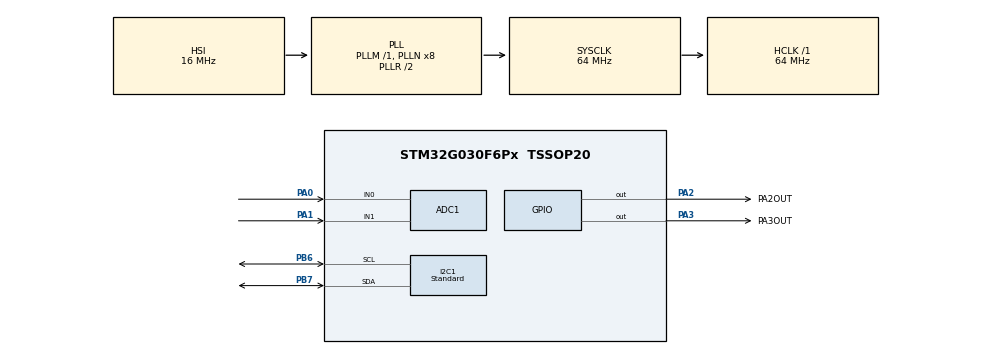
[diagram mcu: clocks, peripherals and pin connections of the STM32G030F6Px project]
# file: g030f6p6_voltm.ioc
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ADC1.Channel-2\#ChannelRegularConversion=ADC_CHANNEL_0
ADC1.Channel-3\#ChannelRegularConversion=ADC_CHANNEL_1
ADC1.ContinuousConvMode=ENABLE
ADC1.DMAContinuousRequests=ENABLE
ADC1.EOCSelection=ADC_EOC_SEQ_CONV
ADC1.NbrOfConversion=2
ADC1.NbrOfConversionFlag=1
ADC1.OversamplingMode=ENABLE
ADC1.Rank-2\#ChannelRegularConversion=1
ADC1.Rank-3\#ChannelRegularConversion=2
ADC1.Ratio=ADC_OVERSAMPLING_RATIO_16
ADC1.SamplingTime-2\#ChannelRegularConversion=ADC_SAMPLINGTIME_COMMON_1
ADC1.SamplingTime-3\#ChannelRegularConversion=ADC_SAMPLINGTIME_COMMON_2
ADC1.SamplingTimeCommon1=ADC_SAMPLETIME_39CYCLES_5
ADC1.SamplingTimeCommon2=ADC_SAMPLETIME_39CYCLES_5
ADC1.SelectedChannel=ADC_CHANNEL_0|ADC_CHANNEL_1
ADC1.TriggerFrequencyMode=ADC_TRIGGER_FREQ_HIGH
ADC1.master=1
Dma.ADC1.0.Direction=DMA_PERIPH_TO_MEMORY
Dma.ADC1.0.EventEnable=DISABLE
Dma.ADC1.0.Instance=DMA1_Channel1
Dma.ADC1.0.MemDataAlignment=DMA_MDATAALIGN_HALFWORD
Dma.ADC1.0.MemInc=DMA_MINC_ENABLE
Dma.ADC1.0.Mode=DMA_CIRCULAR
Dma.ADC1.0.PeriphDataAlignment=DMA_PDATAALIGN_HALFWORD
Dma.ADC1.0.PeriphInc=DMA_PINC_DISABLE
Dma.ADC1.0.Polarity=HAL_DMAMUX_REQ_GEN_RISING
Dma.ADC1.0.Priority=DMA_PRIORITY_LOW
Dma.ADC1.0.RequestNumber=1
Dma.ADC1.0.SignalID=NONE
Dma.ADC1.0.SyncEnable=DISABLE
Dma.ADC1.0.SyncPolarity=HAL_DMAMUX_SYNC_NO_EVENT
Dma.ADC1.0.SyncRequestNumber=1
Dma.ADC1.0.SyncSignalID=NONE
Dma.Request0=ADC1
I2C1.I2C_Speed_Mode=I2C_Standard
I2C1.Timing=0x10B17DB5
Mcu.Family=STM32G0
Mcu.Name=STM32G030F6Px
Mcu.Package=TSSOP20
NVIC.DMA1_Channel1_IRQn=true\:0\:0\:false\:false\:true\:false\:true\:true
PA0.Mode=IN0
PA0.Signal=ADC1_IN0
PA1.Mode=IN1
PA1.Signal=ADC1_IN1
PA13.Mode=Serial_Wire
PA13.Signal=SYS_SWDIO
PA14-BOOT0.Mode=Serial_Wire
PA14-BOOT0.Signal=SYS_SWCLK
PA14-BOOT0__PA15.StandardMode=true
PA2.GPIO_Label=PA2OUT
PA2.PinState=GPIO_PIN_SET
PA2.Signal=GPIO_Output
PA3.GPIO_Label=PA3OUT
PA3.PinState=GPIO_PIN_SET
PA3.Signal=GPIO_Output
PB0__PB1__PB2__PA8.StandardMode=true
PB3__PB4__PB5__PB6.StandardMode=true
PB6.GPIO_FM6=SYSCFG_FASTMODEPLUS_PB6
PB6.GPIO_Pu=GPIO_PULLUP
PB6.GPIO_Speed=GPIO_SPEED_FREQ_VERY_HIGH
PB6.Mode=I2C
PB6.Signal=I2C1_SCL
PB7.GPIO_FM7=SYSCFG_FASTMODEPLUS_PB7
PB7.GPIO_Pu=GPIO_PULLUP
PB7.GPIO_Speed=GPIO_SPEED_FREQ_VERY_HIGH
PB7.Mode=I2C
PB7.Signal=I2C1_SDA
PB7__PB8.StandardMode=true
PC14-OSC32_IN\ (PC14)__PB9.StandardMode=true
ProjectManager.HeapSize=0x200
ProjectManager.StackSize=0x400
ProjectManager.TargetToolchain=STM32CubeIDE
RCC.ADCFreq_Value=64000000
RCC.AHBFreq_Value=64000000
RCC.CortexFreq_Value=64000000
RCC.EXTERNAL_CLOCK_VALUE=12288000
RCC.HCLKFreq_Value=64000000
RCC.HSE_VALUE=8000000
RCC.HSI_VALUE=16000000
RCC.LSE_VALUE=32768
RCC.SYSCLKFreq_VALUE=64000000
RCC.SYSCLKSource=RCC_SYSCLKSOURCE_PLLCLK
RCC.VCOOutputFreq_Value=128000000
board=custom

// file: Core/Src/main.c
/* USER CODE BEGIN Header */
/**
  ******************************************************************************
  * @file           : main.c
  * @brief          : Main program body
  ******************************************************************************
  * @attention
  *
  * Copyright (c) 2025 STMicroelectronics.
  * All rights reserved.
  *
  * This software is licensed under terms that can be found in the LICENSE file
  * in the root directory of this software component.
  * If no LICENSE file comes with this software, it is provided AS-IS.
  *
  ******************************************************************************
  *
  * Code for a 2-channel (PA0, PA1) voltmeter using an STM32G030F6P6 cpu's ADC.
  *
  * The measurement (in volts) is displayed on a SSD1306-based I2C display.
  * Due to the small size of the flash memory (32K), floating point printf
  * formatting code results in the code not fitting in flash, so we calculate
  * the integer and fractional part separately and print them with a dot between
  * them.
  *
  * In order to measure voltages higher than the 3.3V reference, each channel
  * the board has a voltage divider (51K/(51K + 200K)) enabled by a MOSFET that
  * is controlled by a GPIO output pin (A2 controls channel A0, A3 controls
  * channel A1).  With the voltage divider, each channel can measure up to
  * around 16V (3.3 * (200 + 51)/51).
  * When the MOSFET is off, the ADC measures the voltage directly (through the
  * 200K resistor).  This allows us to the full scale of the ADC for voltages
  * lower than around 3.3V.
  *
  * To further increase the resolution of the ADC, each channel is 16x oversampled
  * to give a full scale of 12 bits + 4 bits = 16 bits.
  *
  * The ADCs are continually sampled by DMA into a memory buffer.
  */
/* USER CODE END Header */
#include "main.h"

/* USER CODE BEGIN Includes */
#include "ssd1306.h"
#include <stdio.h>

/* USER CODE END Includes */

ADC_HandleTypeDef hadc1;
DMA_HandleTypeDef hdma_adc1;

I2C_HandleTypeDef hi2c1;

/* USER CODE BEGIN PV */

uint16_t adcvals[2];
uint8_t fi2cadr = 0;
// We use millivolts instead of a floating point number for volts
// because including code to support printing floating point numbers
// exceeds the flash size.
uint16_t millivolts[2];
float scale[2]; // Scaling factor based on the status of the PA2, PA3 pins
GPIO_PinState pinstate[2];

/* USER CODE END PV */

void SystemClock_Config(void);
static void MX_GPIO_Init(void);
static void MX_DMA_Init(void);
static void MX_ADC1_Init(void);
static void MX_I2C1_Init(void);

/* USER CODE BEGIN 0 */

// display data on SSD1306 screen
// _BIG_DISP is used for 0.96" 128x64 screen
// otherwise a 0.49" 64x32 screen is used
// Note that we don't use %f for the sprintf because enabling floating point
// formats in the code causes the code size to increase beyond the flash size.
//#define _BIG_DISP
#ifdef _BIG_DISP
void display() {
	char buf[20];
	uint8_t rpix = 0, rht = 12;
	uint16_t volts, mvolts;

	 // row 0
	 ssd1306_SetCursor(0, rpix);
	 sprintf(buf, "%6d %6d", adcvals[0], adcvals[1]);
	 ssd1306_WriteString(buf, Font_7x10, White);

	 rpix += rht; // row 1
	 rht = 20;

	 ssd1306_SetCursor(0, rpix);
	 volts = millivolts[0] / 1000;
	 mvolts = millivolts[0] % 1000;
	 sprintf(buf, "0:%2u.%03u", volts, mvolts);
	 ssd1306_WriteString(buf , Font_11x18, White);

	 rpix += rht; // row 2

	 ssd1306_SetCursor(0, rpix);
	 volts = millivolts[1] / 1000;
	 mvolts = millivolts[1] % 1000;
	 sprintf(buf, "1:%2u.%03u", volts, mvolts);
	 ssd1306_WriteString(buf , Font_11x18, White);

	 ssd1306_UpdateScreen(&hi2c1);
}
#else
void display() {
	char buf[20];
	uint8_t rpix = 32, rht = 12;
	uint16_t volts, mvolts;

	 // row 0
	 ssd1306_SetCursor(32, rpix);
	 volts = millivolts[0] / 1000;
	 mvolts = millivolts[0] % 1000;
	 sprintf(buf, "0:%2u.%03u", volts, mvolts);
	 ssd1306_WriteString(buf , Font_7x10, White);

	 rpix += rht;

	 // row 1
	 ssd1306_SetCursor(32, rpix);
	 volts = millivolts[1] / 1000;
	 mvolts = millivolts[1] % 1000;
	 sprintf(buf, "1:%2u.%03u", volts, mvolts);
	 ssd1306_WriteString(buf , Font_7x10, White);

	 ssd1306_UpdateScreen(&hi2c1);
}
#endif // _BIG_DISP

void setScale(int chan, GPIO_PinState st) {
	pinstate[chan] = st;
	if (chan == 0) {
		HAL_GPIO_WritePin(PA2OUT_GPIO_Port, PA2OUT_Pin, st);
	} else {
		HAL_GPIO_WritePin(PA3OUT_GPIO_Port, PA3OUT_Pin, st);
	}
	if (st == GPIO_PIN_RESET) {
		scale[chan] = 0.050354; // 3300/65536;
	} else {
		scale[chan] = 0.247821; // ((200 + 51)/51) * 3300/65536;
	}
}

/* USER CODE END 0 */

int main(void)
{

  /* MCU Configuration--------------------------------------------------------*/

  /* Reset of all peripherals, Initializes the Flash interface and the Systick. */
  HAL_Init();

  /* Configure the system clock */
  SystemClock_Config();

  /* Initialize all configured peripherals */
  MX_GPIO_Init();
  MX_DMA_Init();
  MX_ADC1_Init();
  MX_I2C1_Init();
  /* USER CODE BEGIN 2 */

  for (int i2a = 1; i2a < 127; i2a++) {
  	if (HAL_I2C_IsDeviceReady(&hi2c1, i2a << 1, 1, 10) == HAL_OK) {
  		fi2cadr = i2a;
  	}
  }

  if (ssd1306_Init(&hi2c1) != 0) {
    Error_Handler();
  }

  HAL_Delay(100);

  ssd1306_Fill(Black);
  ssd1306_UpdateScreen(&hi2c1);

  HAL_Delay(100);

  setScale(0, GPIO_PIN_RESET);
  setScale(1, GPIO_PIN_RESET);

  HAL_ADCEx_Calibration_Start(&hadc1);
  HAL_ADC_Start_DMA(&hadc1, (uint32_t *)adcvals, 2);

  /* USER CODE END 2 */

  /* Infinite loop */
  /* USER CODE BEGIN WHILE */
  while (1)
  {
	  for (int i = 0; i < 2; i++) {
		  if ((adcvals[i] > 65000) && (pinstate[i] == GPIO_PIN_RESET)) {
			  setScale(i, GPIO_PIN_SET);
		  } else if ((adcvals[i] < 13000) && (pinstate[i] == GPIO_PIN_SET)) {
			  setScale(i, GPIO_PIN_RESET);
		  }
	  }
	  HAL_Delay(100);
	  for (int i = 0; i < 2; i++) {
		  millivolts[i] = adcvals[i] * scale[i];
	  }
	  display();
    /* USER CODE END WHILE */

  }
}

void SystemClock_Config(void)
{
  RCC_OscInitTypeDef RCC_OscInitStruct = {0};
  RCC_ClkInitTypeDef RCC_ClkInitStruct = {0};

  /** Configure the main internal regulator output voltage
  */
  HAL_PWREx_ControlVoltageScaling(PWR_REGULATOR_VOLTAGE_SCALE1);

  /** Initializes the RCC Oscillators according to the specified parameters
  * in the RCC_OscInitTypeDef structure.
  */
  RCC_OscInitStruct.OscillatorType = RCC_OSCILLATORTYPE_HSI;
  RCC_OscInitStruct.HSIState = RCC_HSI_ON;
  RCC_OscInitStruct.HSIDiv = RCC_HSI_DIV1;
  RCC_OscInitStruct.HSICalibrationValue = RCC_HSICALIBRATION_DEFAULT;
  RCC_OscInitStruct.PLL.PLLState = RCC_PLL_ON;
  RCC_OscInitStruct.PLL.PLLSource = RCC_PLLSOURCE_HSI;
  RCC_OscInitStruct.PLL.PLLM = RCC_PLLM_DIV1;
  RCC_OscInitStruct.PLL.PLLN = 8;
  RCC_OscInitStruct.PLL.PLLP = RCC_PLLP_DIV2;
  RCC_OscInitStruct.PLL.PLLR = RCC_PLLR_DIV2;
  if (HAL_RCC_OscConfig(&RCC_OscInitStruct) != HAL_OK)
  {
    Error_Handler();
  }

  /** Initializes the CPU, AHB and APB buses clocks
  */
  RCC_ClkInitStruct.ClockType = RCC_CLOCKTYPE_HCLK|RCC_CLOCKTYPE_SYSCLK
                              |RCC_CLOCKTYPE_PCLK1;
  RCC_ClkInitStruct.SYSCLKSource = RCC_SYSCLKSOURCE_PLLCLK;
  RCC_ClkInitStruct.AHBCLKDivider = RCC_SYSCLK_DIV1;
  RCC_ClkInitStruct.APB1CLKDivider = RCC_HCLK_DIV1;

  if (HAL_RCC_ClockConfig(&RCC_ClkInitStruct, FLASH_LATENCY_2) != HAL_OK)
  {
    Error_Handler();
  }
}

static void MX_ADC1_Init(void)
{

  ADC_ChannelConfTypeDef sConfig = {0};

  /** Configure the global features of the ADC (Clock, Resolution, Data Alignment and number of conversion)
  */
  hadc1.Instance = ADC1;
  hadc1.Init.ClockPrescaler = ADC_CLOCK_SYNC_PCLK_DIV2;
  hadc1.Init.Resolution = ADC_RESOLUTION_12B;
  hadc1.Init.DataAlign = ADC_DATAALIGN_RIGHT;
  hadc1.Init.ScanConvMode = ADC_SCAN_ENABLE;
  hadc1.Init.EOCSelection = ADC_EOC_SEQ_CONV;
  hadc1.Init.LowPowerAutoWait = DISABLE;
  hadc1.Init.LowPowerAutoPowerOff = DISABLE;
  hadc1.Init.ContinuousConvMode = ENABLE;
  hadc1.Init.NbrOfConversion = 2;
  hadc1.Init.ExternalTrigConv = ADC_SOFTWARE_START;
  hadc1.Init.ExternalTrigConvEdge = ADC_EXTERNALTRIGCONVEDGE_NONE;
  hadc1.Init.DMAContinuousRequests = ENABLE;
  hadc1.Init.Overrun = ADC_OVR_DATA_PRESERVED;
  hadc1.Init.SamplingTimeCommon1 = ADC_SAMPLETIME_39CYCLES_5;
  hadc1.Init.SamplingTimeCommon2 = ADC_SAMPLETIME_39CYCLES_5;
  hadc1.Init.OversamplingMode = ENABLE;
  hadc1.Init.Oversampling.Ratio = ADC_OVERSAMPLING_RATIO_16;
  hadc1.Init.Oversampling.RightBitShift = ADC_RIGHTBITSHIFT_NONE;
  hadc1.Init.Oversampling.TriggeredMode = ADC_TRIGGEREDMODE_SINGLE_TRIGGER;
  hadc1.Init.TriggerFrequencyMode = ADC_TRIGGER_FREQ_HIGH;
  if (HAL_ADC_Init(&hadc1) != HAL_OK)
  {
    Error_Handler();
  }

  /** Configure Regular Channel
  */
  sConfig.Channel = ADC_CHANNEL_0;
  sConfig.Rank = ADC_REGULAR_RANK_1;
  sConfig.SamplingTime = ADC_SAMPLINGTIME_COMMON_1;
  if (HAL_ADC_ConfigChannel(&hadc1, &sConfig) != HAL_OK)
  {
    Error_Handler();
  }

  /** Configure Regular Channel
  */
  sConfig.Channel = ADC_CHANNEL_1;
  sConfig.Rank = ADC_REGULAR_RANK_2;
  sConfig.SamplingTime = ADC_SAMPLINGTIME_COMMON_2;
  if (HAL_ADC_ConfigChannel(&hadc1, &sConfig) != HAL_OK)
  {
    Error_Handler();
  }

}

static void MX_I2C1_Init(void)
{

  hi2c1.Instance = I2C1;
  hi2c1.Init.Timing = 0x10B17DB5;
  hi2c1.Init.OwnAddress1 = 0;
  hi2c1.Init.AddressingMode = I2C_ADDRESSINGMODE_7BIT;
  hi2c1.Init.DualAddressMode = I2C_DUALADDRESS_DISABLE;
  hi2c1.Init.OwnAddress2 = 0;
  hi2c1.Init.OwnAddress2Masks = I2C_OA2_NOMASK;
  hi2c1.Init.GeneralCallMode = I2C_GENERALCALL_DISABLE;
  hi2c1.Init.NoStretchMode = I2C_NOSTRETCH_DISABLE;
  if (HAL_I2C_Init(&hi2c1) != HAL_OK)
  {
    Error_Handler();
  }

  /** Configure Analogue filter
  */
  if (HAL_I2CEx_ConfigAnalogFilter(&hi2c1, I2C_ANALOGFILTER_ENABLE) != HAL_OK)
  {
    Error_Handler();
  }

  /** Configure Digital filter
  */
  if (HAL_I2CEx_ConfigDigitalFilter(&hi2c1, 0) != HAL_OK)
  {
    Error_Handler();
  }

}

static void MX_DMA_Init(void)
{

  /* DMA controller clock enable */
  __HAL_RCC_DMA1_CLK_ENABLE();

  /* DMA interrupt init */
  /* DMA1_Channel1_IRQn interrupt configuration */
  HAL_NVIC_SetPriority(DMA1_Channel1_IRQn, 0, 0);
  HAL_NVIC_EnableIRQ(DMA1_Channel1_IRQn);

}

static void MX_GPIO_Init(void)
{
  GPIO_InitTypeDef GPIO_InitStruct = {0};

  /* GPIO Ports Clock Enable */
  __HAL_RCC_GPIOB_CLK_ENABLE();
  __HAL_RCC_GPIOA_CLK_ENABLE();

  /*Configure GPIO pin Output Level */
  HAL_GPIO_WritePin(GPIOA, PA2OUT_Pin|PA3OUT_Pin, GPIO_PIN_SET);

  /*Configure GPIO pins : PA2OUT_Pin PA3OUT_Pin */
  GPIO_InitStruct.Pin = PA2OUT_Pin|PA3OUT_Pin;
  GPIO_InitStruct.Mode = GPIO_MODE_OUTPUT_PP;
  GPIO_InitStruct.Pull = GPIO_NOPULL;
  GPIO_InitStruct.Speed = GPIO_SPEED_FREQ_LOW;
  HAL_GPIO_Init(GPIOA, &GPIO_InitStruct);

}

void Error_Handler(void)
{
  __disable_irq();
  while (1)
  {
  }
}
